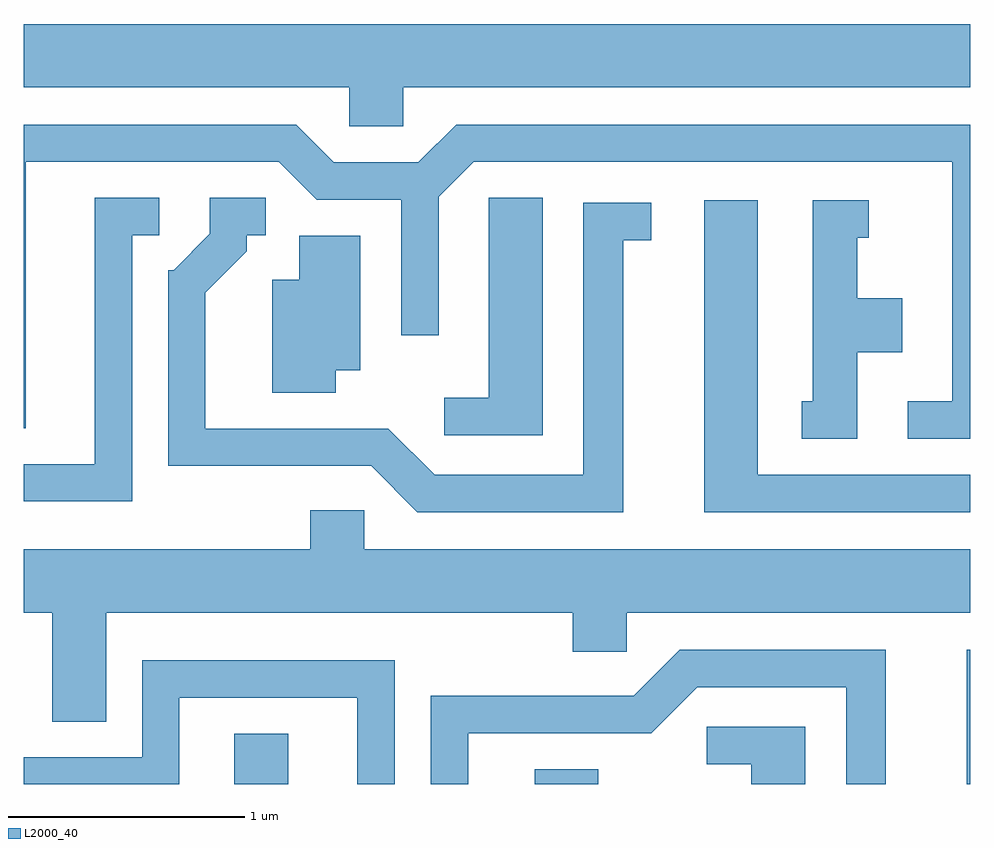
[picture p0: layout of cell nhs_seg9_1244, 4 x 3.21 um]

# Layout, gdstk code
import gdstk
lib = gdstk.Library(unit=1e-6, precision=1e-09)
def R(c, l, rs):  # rectangles x0, y0, x1, y1
    for r in rs: c.add(gdstk.rectangle(r[:2], r[2:], *l))
def P(c, l, *ps):  # polygons
    for p in ps: c.add(gdstk.Polygon(p, *l))
L2000_40 = (2000, 40)

nhs_seg9_1244 = lib.new_cell('nhs_seg9_1244')
R(nhs_seg9_1244, L2000_40, [(222.501,1984.432,222.729,1984.644), (223.771,1984.432,224.039,1984.494), (225.596,1984.432,225.611,1984.999)])
P(nhs_seg9_1244, L2000_40, [(223.214,1987.376),(225.611,1987.376),(225.611,1987.644),(221.611,1987.644),(221.611,1987.376),(222.986,1987.376),(222.986,1987.211),(223.214,1987.211)],
  [(225.611,1987.219),(223.439,1987.219),(223.279,1987.059),(222.922,1987.059),(222.762,1987.219),(221.611,1987.219),(221.611,1985.936),(221.619,1985.936),(221.619,1987.061),(222.689,1987.061),(222.849,1986.901),(223.206,1986.901),(223.206,1986.328),(223.364,1986.328),(223.364,1986.914),(223.512,1987.061),(225.536,1987.061),(225.536,1986.049),(225.348,1986.049),(225.348,1985.891),(225.611,1985.891)],
  [(224.144,1986.731),(224.263,1986.731),(224.263,1986.889),(223.976,1986.889),(223.976,1985.739),(223.347,1985.739),(223.152,1985.934),(222.379,1985.934),(222.379,1986.509),(222.554,1986.684),(222.554,1986.751),(222.633,1986.751),(222.633,1986.909),(222.396,1986.909),(222.396,1986.757),(222.244,1986.604),(222.221,1986.604),(222.221,1985.776),(223.079,1985.776),(223.274,1985.581),(224.144,1985.581)],
  [(222.069,1986.751),(222.183,1986.751),(222.183,1986.909),(221.911,1986.909),(221.911,1985.784),(221.611,1985.784),(221.611,1985.626),(222.069,1985.626)],
  [(223.804,1986.909),(223.576,1986.909),(223.576,1986.064),(223.388,1986.064),(223.388,1985.906),(223.804,1985.906)],
  [(225.611,1985.739),(224.714,1985.739),(224.714,1986.899),(224.486,1986.899),(224.486,1985.581),(225.611,1985.581)],
  [(225.134,1986.256),(225.324,1986.256),(225.324,1986.484),(225.134,1986.484),(225.134,1986.741),(225.183,1986.741),(225.183,1986.899),(224.946,1986.899),(224.946,1986.049),(224.898,1986.049),(224.898,1985.891),(225.134,1985.891)],
  [(222.929,1986.181),(223.034,1986.181),(223.034,1986.749),(222.776,1986.749),(222.776,1986.564),(222.661,1986.564),(222.661,1986.086),(222.929,1986.086)],
  [(221.959,1985.156),(223.931,1985.156),(223.931,1984.991),(224.159,1984.991),(224.159,1985.156),(225.611,1985.156),(225.611,1985.424),(223.049,1985.424),(223.049,1985.589),(222.821,1985.589),(222.821,1985.424),(221.611,1985.424),(221.611,1985.156),(221.731,1985.156),(221.731,1984.696),(221.959,1984.696)],
  [(223.489,1984.646),(224.262,1984.646),(224.457,1984.841),(225.086,1984.841),(225.086,1984.432),(225.254,1984.432),(225.254,1984.999),(224.384,1984.999),(224.189,1984.804),(223.331,1984.804),(223.331,1984.432),(223.489,1984.432)],
  [(222.269,1984.796),(223.021,1984.796),(223.021,1984.432),(223.179,1984.432),(223.179,1984.954),(222.111,1984.954),(222.111,1984.544),(221.611,1984.544),(221.611,1984.432),(222.269,1984.432)],
  [(224.914,1984.674),(224.498,1984.674),(224.498,1984.516),(224.686,1984.516),(224.686,1984.432),(224.914,1984.432)])

lib.write_gds('nhs_seg9_1244.gds')
